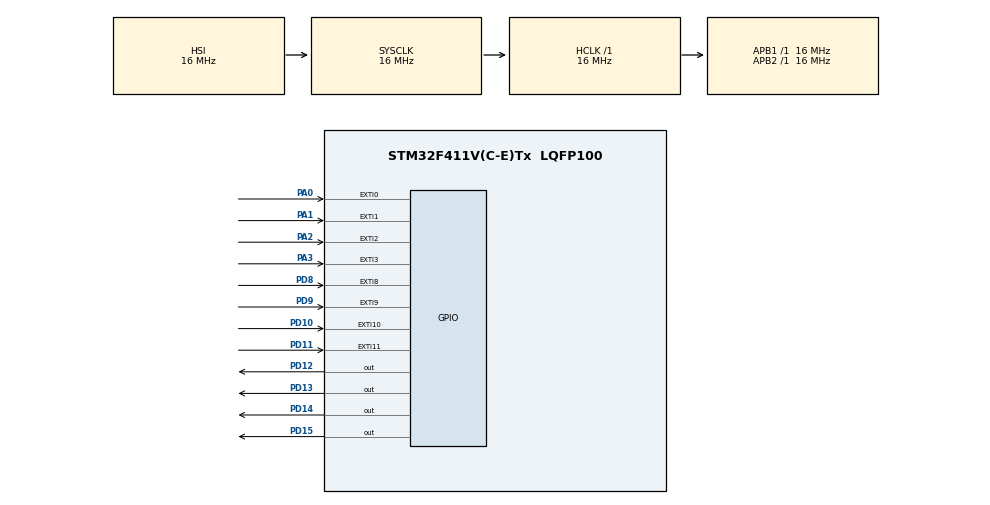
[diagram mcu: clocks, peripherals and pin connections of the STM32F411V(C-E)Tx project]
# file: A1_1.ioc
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Mcu.Family=STM32F4
Mcu.Name=STM32F411V(C-E)Tx
Mcu.Package=LQFP100
NVIC.EXTI0_IRQn=true\:0\:0\:false\:false\:true\:true\:true
NVIC.EXTI15_10_IRQn=true\:0\:0\:false\:false\:true\:true\:true
NVIC.EXTI1_IRQn=true\:0\:0\:false\:false\:true\:true\:true
NVIC.EXTI2_IRQn=true\:0\:0\:false\:false\:true\:true\:true
NVIC.EXTI3_IRQn=true\:0\:0\:false\:false\:true\:true\:true
NVIC.EXTI9_5_IRQn=true\:0\:0\:false\:false\:true\:true\:true
NVIC.PriorityGroup=NVIC_PRIORITYGROUP_4
PA0-WKUP.GPIO_ModeDefaultEXTI=GPIO_MODE_IT_RISING
PA0-WKUP.Signal=GPXTI0
PA1.GPIO_ModeDefaultEXTI=GPIO_MODE_IT_RISING
PA1.Signal=GPXTI1
PA2.GPIO_ModeDefaultEXTI=GPIO_MODE_IT_RISING
PA2.Signal=GPXTI2
PA3.GPIO_ModeDefaultEXTI=GPIO_MODE_IT_RISING
PA3.Signal=GPXTI3
PD10.GPIO_ModeDefaultEXTI=GPIO_MODE_IT_RISING_FALLING
PD10.Signal=GPXTI10
PD11.GPIO_ModeDefaultEXTI=GPIO_MODE_IT_RISING_FALLING
PD11.Signal=GPXTI11
PD12.Signal=GPIO_Output
PD13.Signal=GPIO_Output
PD14.Signal=GPIO_Output
PD15.Signal=GPIO_Output
PD8.GPIO_ModeDefaultEXTI=GPIO_MODE_IT_RISING_FALLING
PD8.Signal=GPXTI8
PD9.GPIO_ModeDefaultEXTI=GPIO_MODE_IT_RISING_FALLING
PD9.Signal=GPXTI9
ProjectManager.HeapSize=0x200
ProjectManager.StackSize=0x400
ProjectManager.TargetToolchain=STM32CubeIDE
RCC.AHBFreq_Value=16000000
RCC.APB1Freq_Value=16000000
RCC.APB2Freq_Value=16000000
RCC.CortexFreq_Value=16000000
RCC.HSE_VALUE=25000000
RCC.HSI_VALUE=16000000
RCC.LSE_VALUE=32768
RCC.SYSCLKFreq_VALUE=16000000
RCC.VCOOutputFreq_Value=192000000
board=custom

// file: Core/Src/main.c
/* USER CODE BEGIN Header */
/**
  ******************************************************************************
  * @file           : main.c
  * @brief          : Main program body
  ******************************************************************************
  * @attention
  *
  * <h2><center>&copy; Copyright (c) 2020 STMicroelectronics.
  * All rights reserved.</center></h2>
  *
  * This software component is licensed by ST under BSD 3-Clause license,
  * the "License"; You may not use this file except in compliance with the
  * License. You may obtain a copy of the License at:
  *                        opensource.org/licenses/BSD-3-Clause
  *
  ******************************************************************************
  */
/* USER CODE END Header */

#include "main.h"

/* USER CODE BEGIN Includes */
#include <stdint.h>
/* USER CODE END Includes */

/* USER CODE BEGIN PV */
unsigned int directionFlag[4] = {0}; // Up, Right, Left, Down
extern int button_pressed;
/* USER CODE END PV */

void SystemClock_Config(void);
static void MX_GPIO_Init(void);
/* USER CODE BEGIN PFP */
void drawPixel(uint8_t* screenPtr, uint16_t x, uint16_t y, uint8_t colorIndex);
void updateLeds(uint8_t colorIndex);
/* USER CODE END PFP */

/* USER CODE BEGIN 0 */
#define screen_start (uint8_t*)0x20020000

void drawPixel(uint8_t* screenPtr, uint16_t x, uint16_t y, uint8_t colorIndex)
{
   uint8_t colorCodes[] = {48, 44, 41, 32};
   *(screenPtr+ y*320 + x) = colorCodes[colorIndex];
}

void updateLeds(uint8_t colorIndex)
{
	uint32_t* gpiod_odr = (uint32_t*) 0x40020c14; // gpio adress of leds

	// Turn off all leds and turn on the led in colorIndex
	*gpiod_odr = (*gpiod_odr & ~0x0000F000) | (1 << (colorIndex+12));
}

void HAL_GPIO_EXTI_Callback(uint16_t GPIO_Pin)
{
  /* Prevent unused argument(s) compilation warning */
  UNUSED(GPIO_Pin);
  /* NOTE: This function Should not be modified, when the callback is needed,
           the HAL_GPIO_EXTI_Callback could be implemented in the user file
   */
  if (GPIO_Pin == GPIO_PIN_8) {// Up
	  directionFlag[0] = !directionFlag[0];
  }
  else if (GPIO_Pin == GPIO_PIN_9) {// Right
	  directionFlag[1] = !directionFlag[1];
  }
  else if (GPIO_Pin == GPIO_PIN_10) {// Left
	  directionFlag[2] = !directionFlag[2];
  }
  else if (GPIO_Pin == GPIO_PIN_11) {// Down
	  directionFlag[3] = !directionFlag[3];
  }

}

/* USER CODE END 0 */

int main(void)
{

  /* MCU Configuration--------------------------------------------------------*/

  /* Reset of all peripherals, Initializes the Flash interface and the Systick. */
  HAL_Init();

  /* Configure the system clock */
  SystemClock_Config();

  /* Initialize all configured peripherals */
  MX_GPIO_Init();
  /* USER CODE BEGIN 2 */
  uint16_t x = 160;
  uint16_t y = 100;
  /* USER CODE END 2 */

  /* Infinite loop */
  /* USER CODE BEGIN WHILE */
  while (1)
  {
	  HAL_Delay(1);

	  // Calculate y-pos
	  if (y - directionFlag[0] > 0) { // up
		  y -= directionFlag[0];
	  }
	  if (y + directionFlag[3] < 320) { // down
		  y += directionFlag[3];
	  }

	  // Calculate x-pos
	  if (x + directionFlag[1] < 320) { // right
		  x += directionFlag[1];
	  }
	  if (x - directionFlag[2] > 0) { // left
		  x -= directionFlag[2];
	  }

	  updateLeds(button_pressed);
	  drawPixel(screen_start, x, y, (uint8_t) button_pressed);

    /* USER CODE END WHILE */

  }
}

void SystemClock_Config(void)
{
  RCC_OscInitTypeDef RCC_OscInitStruct = {0};
  RCC_ClkInitTypeDef RCC_ClkInitStruct = {0};

  /** Configure the main internal regulator output voltage
  */
  __HAL_RCC_PWR_CLK_ENABLE();
  __HAL_PWR_VOLTAGESCALING_CONFIG(PWR_REGULATOR_VOLTAGE_SCALE1);
  /** Initializes the CPU, AHB and APB busses clocks
  */
  RCC_OscInitStruct.OscillatorType = RCC_OSCILLATORTYPE_HSI;
  RCC_OscInitStruct.HSIState = RCC_HSI_ON;
  RCC_OscInitStruct.HSICalibrationValue = RCC_HSICALIBRATION_DEFAULT;
  RCC_OscInitStruct.PLL.PLLState = RCC_PLL_NONE;
  if (HAL_RCC_OscConfig(&RCC_OscInitStruct) != HAL_OK)
  {
    Error_Handler();
  }
  /** Initializes the CPU, AHB and APB busses clocks
  */
  RCC_ClkInitStruct.ClockType = RCC_CLOCKTYPE_HCLK|RCC_CLOCKTYPE_SYSCLK
                              |RCC_CLOCKTYPE_PCLK1|RCC_CLOCKTYPE_PCLK2;
  RCC_ClkInitStruct.SYSCLKSource = RCC_SYSCLKSOURCE_HSI;
  RCC_ClkInitStruct.AHBCLKDivider = RCC_SYSCLK_DIV1;
  RCC_ClkInitStruct.APB1CLKDivider = RCC_HCLK_DIV1;
  RCC_ClkInitStruct.APB2CLKDivider = RCC_HCLK_DIV1;

  if (HAL_RCC_ClockConfig(&RCC_ClkInitStruct, FLASH_LATENCY_0) != HAL_OK)
  {
    Error_Handler();
  }
}

static void MX_GPIO_Init(void)
{
  GPIO_InitTypeDef GPIO_InitStruct = {0};

  /* GPIO Ports Clock Enable */
  __HAL_RCC_GPIOA_CLK_ENABLE();
  __HAL_RCC_GPIOD_CLK_ENABLE();

  /*Configure GPIO pin Output Level */
  HAL_GPIO_WritePin(GPIOD, GPIO_PIN_12|GPIO_PIN_13|GPIO_PIN_14|GPIO_PIN_15, GPIO_PIN_RESET);

  /*Configure GPIO pins : PA0 PA1 PA2 PA3 */
  GPIO_InitStruct.Pin = GPIO_PIN_0|GPIO_PIN_1|GPIO_PIN_2|GPIO_PIN_3;
  GPIO_InitStruct.Mode = GPIO_MODE_IT_RISING;
  GPIO_InitStruct.Pull = GPIO_NOPULL;
  HAL_GPIO_Init(GPIOA, &GPIO_InitStruct);

  /*Configure GPIO pins : PD8 PD9 PD10 PD11 */
  GPIO_InitStruct.Pin = GPIO_PIN_8|GPIO_PIN_9|GPIO_PIN_10|GPIO_PIN_11;
  GPIO_InitStruct.Mode = GPIO_MODE_IT_RISING_FALLING;
  GPIO_InitStruct.Pull = GPIO_NOPULL;
  HAL_GPIO_Init(GPIOD, &GPIO_InitStruct);

  /*Configure GPIO pins : PD12 PD13 PD14 PD15 */
  GPIO_InitStruct.Pin = GPIO_PIN_12|GPIO_PIN_13|GPIO_PIN_14|GPIO_PIN_15;
  GPIO_InitStruct.Mode = GPIO_MODE_OUTPUT_PP;
  GPIO_InitStruct.Pull = GPIO_NOPULL;
  GPIO_InitStruct.Speed = GPIO_SPEED_FREQ_LOW;
  HAL_GPIO_Init(GPIOD, &GPIO_InitStruct);

  /* EXTI interrupt init*/
  HAL_NVIC_SetPriority(EXTI0_IRQn, 0, 0);
  HAL_NVIC_EnableIRQ(EXTI0_IRQn);

  HAL_NVIC_SetPriority(EXTI1_IRQn, 0, 0);
  HAL_NVIC_EnableIRQ(EXTI1_IRQn);

  HAL_NVIC_SetPriority(EXTI2_IRQn, 0, 0);
  HAL_NVIC_EnableIRQ(EXTI2_IRQn);

  HAL_NVIC_SetPriority(EXTI3_IRQn, 0, 0);
  HAL_NVIC_EnableIRQ(EXTI3_IRQn);

  HAL_NVIC_SetPriority(EXTI9_5_IRQn, 0, 0);
  HAL_NVIC_EnableIRQ(EXTI9_5_IRQn);

  HAL_NVIC_SetPriority(EXTI15_10_IRQn, 0, 0);
  HAL_NVIC_EnableIRQ(EXTI15_10_IRQn);

}

void Error_Handler(void)
{
}

/************************ (C) COPYRIGHT STMicroelectronics *****END OF FILE****/
